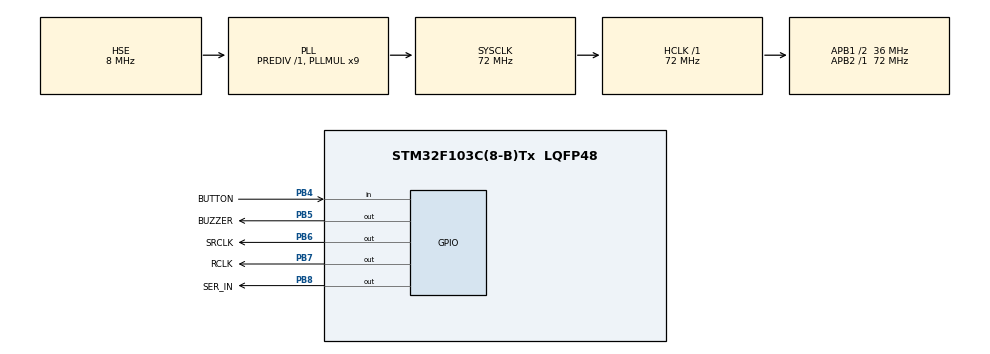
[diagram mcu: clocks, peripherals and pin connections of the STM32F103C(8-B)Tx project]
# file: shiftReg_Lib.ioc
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Mcu.Family=STM32F1
Mcu.Name=STM32F103C(8-B)Tx
Mcu.Package=LQFP48
NVIC.PriorityGroup=NVIC_PRIORITYGROUP_4
PA13.Mode=Serial_Wire
PA13.Signal=SYS_JTMS-SWDIO
PA14.Mode=Serial_Wire
PA14.Signal=SYS_JTCK-SWCLK
PB4.GPIO_Label=BUTTON
PB4.GPIO_PuPd=GPIO_PULLUP
PB4.Signal=GPIO_Input
PB5.GPIO_Label=BUZZER
PB5.Signal=GPIO_Output
PB6.GPIO_Label=SRCLK
PB6.Signal=GPIO_Output
PB7.GPIO_Label=RCLK
PB7.Signal=GPIO_Output
PB8.GPIO_Label=SER_IN
PB8.Signal=GPIO_Output
PD0-OSC_IN.Mode=HSE-External-Oscillator
PD0-OSC_IN.Signal=RCC_OSC_IN
PD1-OSC_OUT.Mode=HSE-External-Oscillator
PD1-OSC_OUT.Signal=RCC_OSC_OUT
ProjectManager.HeapSize=0x200
ProjectManager.StackSize=0x400
ProjectManager.TargetToolchain=STM32CubeIDE
RCC.AHBFreq_Value=72000000
RCC.APB1CLKDivider=RCC_HCLK_DIV2
RCC.APB1Freq_Value=36000000
RCC.APB1TimFreq_Value=72000000
RCC.APB2Freq_Value=72000000
RCC.APB2TimFreq_Value=72000000
RCC.HCLKFreq_Value=72000000
RCC.PLLMUL=RCC_PLL_MUL9
RCC.PLLSourceVirtual=RCC_PLLSOURCE_HSE
RCC.SYSCLKFreq_VALUE=72000000
RCC.SYSCLKSource=RCC_SYSCLKSOURCE_PLLCLK
RCC.USBFreq_Value=72000000
board=custom

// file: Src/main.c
/* USER CODE BEGIN Header */
/**
  ******************************************************************************
  * @file           : main.c
  * @brief          : Main program body
  ******************************************************************************
  * @attention
  *
  * Copyright (c) 2024 STMicroelectronics.
  * All rights reserved.
  *
  * This software is licensed under terms that can be found in the LICENSE file
  * in the root directory of this software component.
  * If no LICENSE file comes with this software, it is provided AS-IS.
  *
  ******************************************************************************
  */
/* USER CODE END Header */
#include "main.h"
#include "../../ECUAL/SHIFT_REGISTER/SHIFT_REGISTER.h"

/* USER CODE BEGIN PM */
#define redAlert 0b0110110110111111
#define numStates 8
/* USER CODE END PM */

/* USER CODE BEGIN PV */
uint16_t trafficStates[numStates] = {
	0b1100110110111111,
	0b1010110110111111,
	0b0111100110111111,
	0b0111010110111111,
	0b0110111100111111,
	0b0110111010111111,
	0b0110110111101111,
	0b0110110111011111
};

uint32_t delayPattern[2] = {5000, 3000};
/* USER CODE END PV */

void SystemClock_Config(void);
static void MX_GPIO_Init(void);

/* USER CODE BEGIN 0 */
void trafficLight(void){
	static uint32_t lastTick = 0;
	static uint8_t currentState = 0;
	uint32_t currentTick = HAL_GetTick();

	if(currentTick - lastTick >= delayPattern[currentState % 2]){
		lastTick = currentTick;
		shiftRegister(trafficStates[currentState]);
		currentState = (currentState + 1) % numStates;
	}
}
/* USER CODE END 0 */

int main(void)
{

  /* MCU Configuration--------------------------------------------------------*/

  /* Reset of all peripherals, Initializes the Flash interface and the Systick. */
  HAL_Init();

  /* Configure the system clock */
  SystemClock_Config();

  /* Initialize all configured peripherals */
  MX_GPIO_Init();

  /* Infinite loop */
  while (1)
  {
	  trafficLight();
  }
}

void SystemClock_Config(void)
{
  RCC_OscInitTypeDef RCC_OscInitStruct = {0};
  RCC_ClkInitTypeDef RCC_ClkInitStruct = {0};

  /** Initializes the RCC Oscillators according to the specified parameters
  * in the RCC_OscInitTypeDef structure.
  */
  RCC_OscInitStruct.OscillatorType = RCC_OSCILLATORTYPE_HSE;
  RCC_OscInitStruct.HSEState = RCC_HSE_ON;
  RCC_OscInitStruct.HSEPredivValue = RCC_HSE_PREDIV_DIV1;
  RCC_OscInitStruct.HSIState = RCC_HSI_ON;
  RCC_OscInitStruct.PLL.PLLState = RCC_PLL_ON;
  RCC_OscInitStruct.PLL.PLLSource = RCC_PLLSOURCE_HSE;
  RCC_OscInitStruct.PLL.PLLMUL = RCC_PLL_MUL9;
  if (HAL_RCC_OscConfig(&RCC_OscInitStruct) != HAL_OK)
  {
    Error_Handler();
  }

  /** Initializes the CPU, AHB and APB buses clocks
  */
  RCC_ClkInitStruct.ClockType = RCC_CLOCKTYPE_HCLK|RCC_CLOCKTYPE_SYSCLK
                              |RCC_CLOCKTYPE_PCLK1|RCC_CLOCKTYPE_PCLK2;
  RCC_ClkInitStruct.SYSCLKSource = RCC_SYSCLKSOURCE_PLLCLK;
  RCC_ClkInitStruct.AHBCLKDivider = RCC_SYSCLK_DIV1;
  RCC_ClkInitStruct.APB1CLKDivider = RCC_HCLK_DIV2;
  RCC_ClkInitStruct.APB2CLKDivider = RCC_HCLK_DIV1;

  if (HAL_RCC_ClockConfig(&RCC_ClkInitStruct, FLASH_LATENCY_2) != HAL_OK)
  {
    Error_Handler();
  }
}

static void MX_GPIO_Init(void)
{
  GPIO_InitTypeDef GPIO_InitStruct = {0};

  /* GPIO Ports Clock Enable */
  __HAL_RCC_GPIOD_CLK_ENABLE();
  __HAL_RCC_GPIOA_CLK_ENABLE();
  __HAL_RCC_GPIOB_CLK_ENABLE();

  /*Configure GPIO pin Output Level */
  HAL_GPIO_WritePin(GPIOB, BUZZER_Pin|SRCLK_Pin|RCLK_Pin|SER_IN_Pin, GPIO_PIN_RESET);

  /*Configure GPIO pin : BUTTON_Pin */
  GPIO_InitStruct.Pin = BUTTON_Pin;
  GPIO_InitStruct.Mode = GPIO_MODE_INPUT;
  GPIO_InitStruct.Pull = GPIO_PULLUP;
  HAL_GPIO_Init(BUTTON_GPIO_Port, &GPIO_InitStruct);

  /*Configure GPIO pins : BUZZER_Pin SRCLK_Pin RCLK_Pin SER_IN_Pin */
  GPIO_InitStruct.Pin = BUZZER_Pin|SRCLK_Pin|RCLK_Pin|SER_IN_Pin;
  GPIO_InitStruct.Mode = GPIO_MODE_OUTPUT_PP;
  GPIO_InitStruct.Pull = GPIO_NOPULL;
  GPIO_InitStruct.Speed = GPIO_SPEED_FREQ_LOW;
  HAL_GPIO_Init(GPIOB, &GPIO_InitStruct);

}

void Error_Handler(void)
{
  __disable_irq();
  while (1)
  {
  }
}
